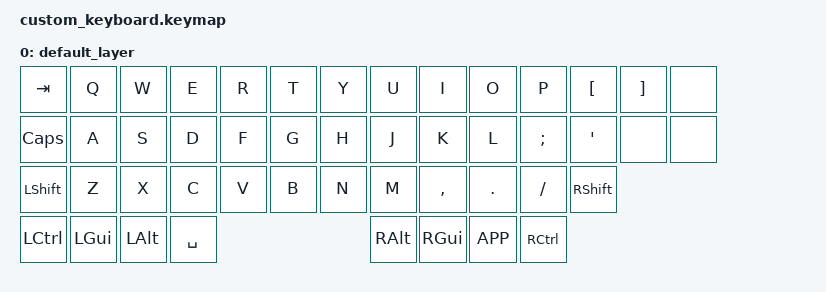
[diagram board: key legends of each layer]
/ {
    keymap {
        compatible = "zmk,keymap";

        default_layer {
            bindings = <
                &kp TAB   &kp Q  &kp W  &kp E  &kp R  &kp T  &kp Y  &kp U  &kp I     &kp O    &kp P     &kp LBKT  &kp RBKT  &none
                &kp CAPS  &kp A  &kp S  &kp D  &kp F  &kp G  &kp H  &kp J  &kp K     &kp L    &kp SEMI  &kp SQT   &none     &none
                &kp LSHFT &kp Z  &kp X  &kp C  &kp V  &kp B  &kp N  &kp M  &kp COMMA &kp DOT  &kp FSLH  &kp RSHFT
                &kp LCTRL &kp LGUI &kp LALT    &kp SPACE              &kp RALT &kp RGUI &kp K_APP &kp RCTRL
            >;
        };
    };
};
